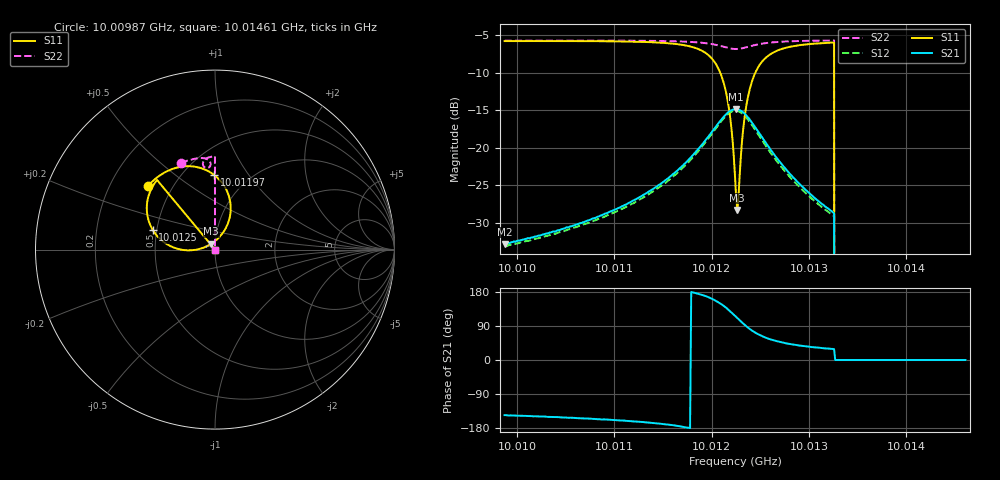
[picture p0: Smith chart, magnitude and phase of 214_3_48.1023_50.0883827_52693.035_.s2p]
#  HZ  S  RI  R  50.00
! Rohde & Schwarz Vector Network Analyzer
! Rohde-Schwarz,ZNB20-2Port,1311601062101988,3.16
! Created: UTC 12/23/2023, 3:56:05 AM
! freq[Hz]  re:S11  im:S11  re:S21  im:S21  re:S12  im:S12  re:S22  im:S22
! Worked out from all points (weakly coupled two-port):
!   401 points, 10.00987 GHz to 10.01461 GHz, reference 50 ohm
!   highest |S21| = -14.84 dB at 10.01225 GHz (marker M1); lowest = -32.8 dB at 10.00987 GHz (marker M2)
!   lowest |S11| = -28.3 dB at 10.01226 GHz (marker M3), VSWR 1.08, Z = 47.9 + j3.11 ohm
!   |S11| at or under -10 dB: 10.01209 GHz to 10.01245 GHz (359.4 kHz wide, 0.00359 % of centre); 10.01326 GHz to end of sweep
!   |S22| runs from - to -5.7 dB; largest |S21 - S12| = 0.0089
!   S11 on the Smith chart (normalised r, x): 10.00987 GHz: 0.36, +0.35; 10.01197 GHz: 0.70, +0.70; 10.0125 GHz: 0.48, +0.12; 10.01461 GHz: 1.00, +0.00
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1.0009871e10  -0.373 0.3563  -0.0188 -0.0129  -0.0175 -0.0134  -0.1896 0.4826
1.0010664e10  -0.3175 0.406  -0.0282 -0.0139  -0.0266 -0.0146  -0.1389 0.5001
1.0011458e10  -0.2122 0.4571  -0.0552 -0.012  -0.0525 -0.0142  -0.0813 0.5101
1.0011789e10  -0.1062 0.4608  -0.0868 0.000696  -0.0837 -0.00375  -0.0507 0.5067
1.0011967e10  -0.00342 0.4151  -0.1154 0.0294  -0.1136 0.0229  -0.0322 0.4955
1.0012073e10  0.0667 0.3261  -0.1292 0.0703  -0.1294 0.0617  -0.0247 0.4807
1.0012145e10  0.0874 0.2221  -0.125 0.1102  -0.127 0.102  -0.0259 0.4675
1.0012192e10  0.0693 0.1391  -0.1086 0.1392  -0.1119 0.1315  -0.0319 0.4594
1.0012239e10  0.0171 0.0623  -0.0808 0.162  -0.0852 0.1549  -0.0415 0.4548
1.0012251e10  -0.00113 0.0463  -0.0722 0.1661  -0.0766 0.1593  -0.0442 0.4544
1.0012263e10  -0.0205 0.0324  -0.0637 0.1692  -0.0679 0.1627  -0.0469 0.4545
1.0012287e10  -0.0632 0.011  -0.0462 0.1726  -0.0501 0.1665  -0.052 0.4553
1.0012334e10  -0.1523 -0.0041  -0.0113 0.1697  -0.016 0.1638  -0.0611 0.4609
1.001237e10  -0.2139 0.00587  0.0113 0.1601  0.00575 0.1549  -0.0651 0.4668
1.0012429e10  -0.2916 0.0466  0.0366 0.1379  0.0306 0.1337  -0.0674 0.4777
1.00125e10  -0.3466 0.1093  0.0513 0.1105  0.0456 0.1074  -0.0651 0.4893
1.0012725e10  -0.3786 0.2577  0.0533 0.0555  0.0484 0.055  -0.0455 0.5091
1.0013033e10  -0.3479 0.3514  0.0397 0.0267  0.0363 0.0273  -0.0181 0.5183
1.0013234e10  -0.3255 0.3845  0.0328 0.0185  0.0301 0.0191  -0.00222 0.5204
1.0013293e10  0 0  0 0  0 0  0 0
1.0013826e10  0 0  0 0  0 0  0 0
1.0014608e10  0 0  0 0  0 0  0 0
